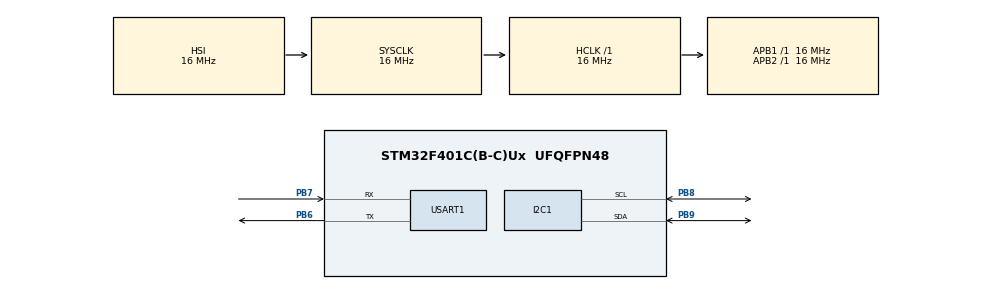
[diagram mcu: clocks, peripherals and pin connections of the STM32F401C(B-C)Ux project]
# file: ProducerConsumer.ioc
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FREERTOS.Mutexes01=MTX1,Dynamic,NULL
FREERTOS.Tasks01=UARTOut,24,128,StartUARTOut,Default,NULL,Dynamic,NULL,NULL;baroScan,24,128,StartBaroScan,Default,NULL,Dynamic,NULL,NULL
FREERTOS.configUSE_NEWLIB_REENTRANT=1
Mcu.Family=STM32F4
Mcu.Name=STM32F401C(B-C)Ux
Mcu.Package=UFQFPN48
NVIC.PriorityGroup=NVIC_PRIORITYGROUP_4
PA13.Mode=Serial_Wire
PA13.Signal=SYS_JTMS-SWDIO
PA14.Mode=Serial_Wire
PA14.Signal=SYS_JTCK-SWCLK
PB6.Mode=Asynchronous
PB6.Signal=USART1_TX
PB7.Mode=Asynchronous
PB7.Signal=USART1_RX
PB8.Mode=I2C
PB8.Signal=I2C1_SCL
PB9.Mode=I2C
PB9.Signal=I2C1_SDA
ProjectManager.HeapSize=0x200
ProjectManager.StackSize=0x400
ProjectManager.TargetToolchain=STM32CubeIDE
RCC.AHBFreq_Value=16000000
RCC.APB1Freq_Value=16000000
RCC.APB2Freq_Value=16000000
RCC.CortexFreq_Value=16000000
RCC.HSE_VALUE=25000000
RCC.HSI_VALUE=16000000
RCC.LSE_VALUE=32768
RCC.SYSCLKFreq_VALUE=16000000
RCC.VCOOutputFreq_Value=192000000
USART1.VirtualMode=VM_ASYNC
VP_FREERTOS_VS_CMSIS_V2.Mode=CMSIS_V2
board=custom

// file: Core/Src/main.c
/* USER CODE BEGIN Header */
/**
  ******************************************************************************
  * @file           : main.c
  * @brief          : Main program body
  ******************************************************************************
  * @attention
  *
  * Copyright (c) 2022 STMicroelectronics.
  * All rights reserved.
  *
  * This software is licensed under terms that can be found in the LICENSE file
  * in the root directory of this software component.
  * If no LICENSE file comes with this software, it is provided AS-IS.
  *
  ******************************************************************************
  */
/* USER CODE END Header */
#include "main.h"
#include "cmsis_os.h"

/* USER CODE BEGIN Includes */
#include <stdio.h>
#include <stdlib.h>
#include "baro.h"

/* USER CODE END Includes */

/* USER CODE BEGIN PD */
#define BUFFER_MAX_SIZE 10
/* USER CODE END PD */

/* USER CODE BEGIN PM */
#define countof(a) (sizeof(a)/sizeof(a[0]))
/* USER CODE END PM */

I2C_HandleTypeDef hi2c1;

UART_HandleTypeDef huart1;

/* Definitions for UARTOut */
osThreadId_t UARTOutHandle;
const osThreadAttr_t UARTOut_attributes = {
  .name = "UARTOut",
  .stack_size = 128 * 4,
  .priority = (osPriority_t) osPriorityNormal,
};
/* Definitions for baroScan */
osThreadId_t baroScanHandle;
const osThreadAttr_t baroScan_attributes = {
  .name = "baroScan",
  .stack_size = 128 * 4,
  .priority = (osPriority_t) osPriorityNormal,
};
/* Definitions for MTX1 */
osMutexId_t MTX1Handle;
const osMutexAttr_t MTX1_attributes = {
  .name = "MTX1"
};
/* USER CODE BEGIN PV */
typedef struct
{
    uint32_t temp;
    uint32_t press;
    struct queue *nextFrame;
} queue;
queue *startPtr = NULL, *endPtr = NULL;
int32_t crntFrame = 0;

/* USER CODE END PV */

void SystemClock_Config(void);
static void MX_GPIO_Init(void);
static void MX_I2C1_Init(void);
static void MX_USART1_UART_Init(void);
void StartUARTOut(void *argument);
void StartBaroScan(void *argument);

int main(void)
{

  /* MCU Configuration--------------------------------------------------------*/

  /* Reset of all peripherals, Initializes the Flash interface and the Systick. */
  HAL_Init();

  /* Configure the system clock */
  SystemClock_Config();

  /* Initialize all configured peripherals */
  MX_GPIO_Init();
  MX_I2C1_Init();
  MX_USART1_UART_Init();
  /* USER CODE BEGIN 2 */

  if (baro_init() != BARO_OK) {
      while (1) {
    	  HAL_UART_Transmit(&huart1, (uint8_t*)"Error init baro\n", 16, 1000);
    	  HAL_Delay(3000);
      }
  }
  /* USER CODE END 2 */

  /* Init scheduler */
  osKernelInitialize();
  /* Create the mutex(es) */
  /* creation of MTX1 */
  MTX1Handle = osMutexNew(&MTX1_attributes);

  /* Create the thread(s) */
  /* creation of UARTOut */
  UARTOutHandle = osThreadNew(StartUARTOut, NULL, &UARTOut_attributes);

  /* creation of baroScan */
  baroScanHandle = osThreadNew(StartBaroScan, NULL, &baroScan_attributes);

  /* Start scheduler */
  osKernelStart();

  /* We should never get here as control is now taken by the scheduler */
  /* Infinite loop */
  while (1)
    {

    }
}

void SystemClock_Config(void)
{
  RCC_OscInitTypeDef RCC_OscInitStruct = {0};
  RCC_ClkInitTypeDef RCC_ClkInitStruct = {0};

  /** Configure the main internal regulator output voltage
  */
  __HAL_RCC_PWR_CLK_ENABLE();
  __HAL_PWR_VOLTAGESCALING_CONFIG(PWR_REGULATOR_VOLTAGE_SCALE2);

  /** Initializes the RCC Oscillators according to the specified parameters
  * in the RCC_OscInitTypeDef structure.
  */
  RCC_OscInitStruct.OscillatorType = RCC_OSCILLATORTYPE_HSI;
  RCC_OscInitStruct.HSIState = RCC_HSI_ON;
  RCC_OscInitStruct.HSICalibrationValue = RCC_HSICALIBRATION_DEFAULT;
  RCC_OscInitStruct.PLL.PLLState = RCC_PLL_NONE;
  if (HAL_RCC_OscConfig(&RCC_OscInitStruct) != HAL_OK)
  {
    Error_Handler();
  }

  /** Initializes the CPU, AHB and APB buses clocks
  */
  RCC_ClkInitStruct.ClockType = RCC_CLOCKTYPE_HCLK|RCC_CLOCKTYPE_SYSCLK
                              |RCC_CLOCKTYPE_PCLK1|RCC_CLOCKTYPE_PCLK2;
  RCC_ClkInitStruct.SYSCLKSource = RCC_SYSCLKSOURCE_HSI;
  RCC_ClkInitStruct.AHBCLKDivider = RCC_SYSCLK_DIV1;
  RCC_ClkInitStruct.APB1CLKDivider = RCC_HCLK_DIV1;
  RCC_ClkInitStruct.APB2CLKDivider = RCC_HCLK_DIV1;

  if (HAL_RCC_ClockConfig(&RCC_ClkInitStruct, FLASH_LATENCY_0) != HAL_OK)
  {
    Error_Handler();
  }
}

static void MX_I2C1_Init(void)
{

  hi2c1.Instance = I2C1;
  hi2c1.Init.ClockSpeed = 100000;
  hi2c1.Init.DutyCycle = I2C_DUTYCYCLE_2;
  hi2c1.Init.OwnAddress1 = 0;
  hi2c1.Init.AddressingMode = I2C_ADDRESSINGMODE_7BIT;
  hi2c1.Init.DualAddressMode = I2C_DUALADDRESS_DISABLE;
  hi2c1.Init.OwnAddress2 = 0;
  hi2c1.Init.GeneralCallMode = I2C_GENERALCALL_DISABLE;
  hi2c1.Init.NoStretchMode = I2C_NOSTRETCH_DISABLE;
  if (HAL_I2C_Init(&hi2c1) != HAL_OK)
  {
    Error_Handler();
  }

}

static void MX_USART1_UART_Init(void)
{

  huart1.Instance = USART1;
  huart1.Init.BaudRate = 115200;
  huart1.Init.WordLength = UART_WORDLENGTH_8B;
  huart1.Init.StopBits = UART_STOPBITS_1;
  huart1.Init.Parity = UART_PARITY_NONE;
  huart1.Init.Mode = UART_MODE_TX_RX;
  huart1.Init.HwFlowCtl = UART_HWCONTROL_NONE;
  huart1.Init.OverSampling = UART_OVERSAMPLING_16;
  if (HAL_UART_Init(&huart1) != HAL_OK)
  {
    Error_Handler();
  }

}

static void MX_GPIO_Init(void)
{

  /* GPIO Ports Clock Enable */
  __HAL_RCC_GPIOA_CLK_ENABLE();
  __HAL_RCC_GPIOB_CLK_ENABLE();

}

/* USER CODE BEGIN 4 */
//////////////////////////////////////////////////////////////////////////////////////////////////////////////////////////////////////////////////////////////////
void addQueueFrame()
{
    if (crntFrame < BUFFER_MAX_SIZE)
    {
        queue *buf = endPtr;
        endPtr = (endPtr == NULL)  ?  (startPtr = (queue *)malloc(sizeof(queue)))  :  (queue *)(endPtr->nextFrame = (struct queue *)malloc(sizeof(queue)));
        if (endPtr)
            crntFrame++;
        else
            endPtr = buf;
    }
}

void delQueueFrame()
{
    if (crntFrame > 0 && startPtr != NULL)
    {
        queue *buf = startPtr;
        startPtr = (queue *)startPtr->nextFrame;
        free(buf);
        if (--crntFrame == 0)
            endPtr = startPtr = NULL;
    }
}

/* USER CODE END 4 */

void StartUARTOut(void *argument)
{
  /* USER CODE BEGIN 5 */
  char text[50] = {0};
  /* Infinite loop */
  for(;;)
  {
	while(crntFrame == 0){}

	osMutexAcquire(MTX1Handle, osWaitForever);
	snprintf(text, countof(text), "/*%ld.%02ld,%ld.%02ld,%ld*/\n", startPtr->temp/100, startPtr->temp%100, startPtr->press/100, startPtr->press%100, crntFrame);
	delQueueFrame();
	HAL_UART_Transmit(&huart1, (uint8_t*)text, countof(text), HAL_MAX_DELAY);
	osMutexRelease(MTX1Handle);

    osDelay(200);
  }
  /* USER CODE END 5 */
}

void StartBaroScan(void *argument)
{
  /* USER CODE BEGIN StartBaroScan */
//  uint32_t temp = 0, press = 0;
  /* Infinite loop */
	for(;;)
	  {
		while(crntFrame >= BUFFER_MAX_SIZE){}

		osMutexAcquire(MTX1Handle, osWaitForever);
		addQueueFrame();
		endPtr->temp = baro_read_temp();
		endPtr->press = baro_read_press();
		osMutexRelease(MTX1Handle);

	    osDelay(200);
	  }
  /* USER CODE END StartBaroScan */
}

void Error_Handler(void)
{
  __disable_irq();
  while (1)
  {
  }
}
